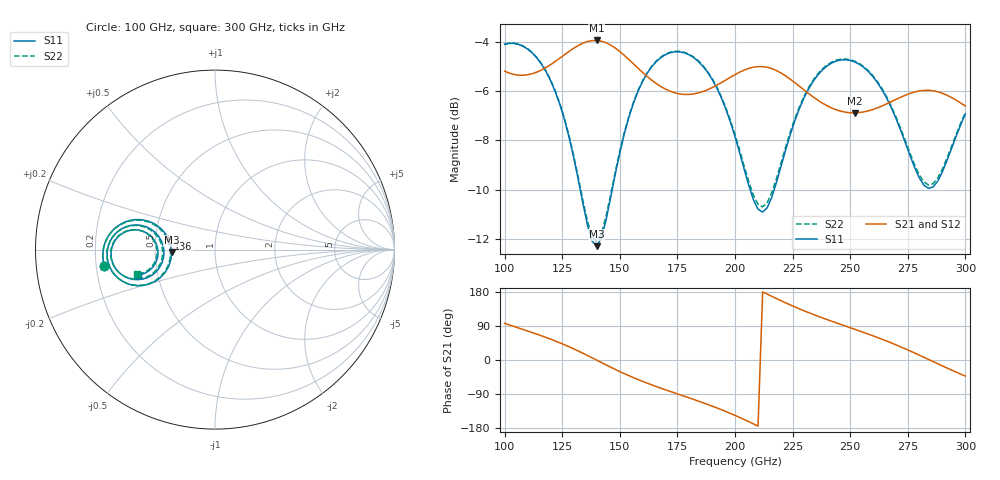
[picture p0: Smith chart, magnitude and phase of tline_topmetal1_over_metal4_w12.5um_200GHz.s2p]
#  GHZ S DB R 50
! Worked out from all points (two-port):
!   101 points, 100 GHz to 300 GHz, reference 50 ohm
!   highest |S21| = -3.95 dB at 140 GHz (marker M1); lowest = -6.9 dB at 252 GHz (marker M2)
!   |S21| within 3 dB of the highest: start of sweep to end of sweep
!   lowest |S11| = -12.3 dB at 140 GHz (marker M3), VSWR 1.64, Z = 30.5 - j0.999 ohm
!   |S11| at or under -10 dB: 132.8 GHz to 146.7 GHz (13.91 GHz wide, 9.95 % of centre); 206.6 GHz to 217 GHz (10.48 GHz wide, 4.95 % of centre)
!   |S22| runs from -12.1 to -4.1 dB; largest |S21 - S12| = 7.3e-14
!   S11 on the Smith chart (normalised r, x): 100 GHz: 0.23, -0.07; 136 GHz: 0.58, +0.08; 300 GHz: 0.39, -0.14
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100  -4.11 -171.6  -5.20 96.7  -5.20 96.7  -4.10 -171.4
110  -4.30 175.2  -5.34 76.5  -5.34 76.5  -4.28 175.5
120  -5.59 163.1  -4.93 54.9  -4.93 54.9  -5.56 163.5
128  -7.89 156.9  -4.39 34.8  -4.39 34.8  -7.83 157.5
134  -10.57 161.4  -4.06 17.8  -4.06 17.8  -10.44 162.1
136  -11.46 166.7  -3.99 11.8  -3.99 11.8  -11.30 167.3
140  -12.30 -176.4  -3.95 -0.4  -3.95 -0.4  -12.10 -176.3
146  -10.34 -155.5  -4.13 -18.8  -4.13 -18.8  -10.21 -156.0
154  -7.05 -153.3  -4.73 -41.5  -4.73 -41.5  -7.00 -153.7
168  -4.63 -168.3  -5.83 -74.8  -5.83 -74.8  -4.61 -168.4
182  -4.64 175.4  -6.12 -104.0  -6.12 -104.0  -4.62 175.6
192  -5.86 165.4  -5.77 -126.1  -5.77 -126.1  -5.82 165.8
200  -7.85 161.7  -5.34 -146.2  -5.34 -146.2  -7.77 162.2
212  -10.92 -177.1  -5.01 179.7  -5.01 179.7  -10.71 -177.1
224  -7.77 -157.5  -5.52 145.3  -5.52 145.3  -7.67 -158.1
234  -5.60 -163.3  -6.25 120.2  -6.25 120.2  -5.55 -163.8
252  -4.82 178.6  -6.89 81.0  -6.89 81.0  -4.79 178.4
268  -6.71 166.2  -6.43 44.7  -6.43 44.7  -6.65 166.2
276  -8.63 167.7  -6.10 23.9  -6.10 23.9  -8.53 167.7
284  -9.95 -178.6  -5.97 1.5  -5.97 1.5  -9.82 -178.9
292  -8.83 -164.0  -6.17 -21.1  -6.17 -21.1  -8.73 -164.7
300  -6.93 -161.7  -6.61 -42.5  -6.61 -42.5  -6.87 -162.4
